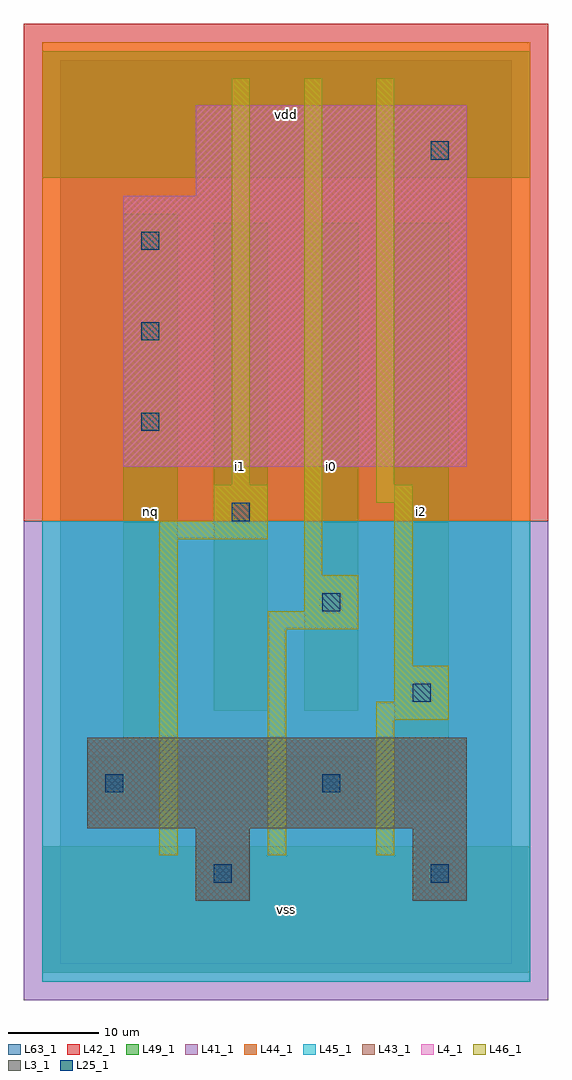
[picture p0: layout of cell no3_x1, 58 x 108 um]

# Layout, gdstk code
import gdstk
lib = gdstk.Library(unit=1e-6, precision=1e-09)
def R(c, l, rs):  # rectangles x0, y0, x1, y1
    for r in rs: c.add(gdstk.rectangle(r[:2], r[2:], *l))
def A(c, l, x, y, w, h, nx, ny, dx, dy):  # array of equal rectangles
    R(c, l, [(x+i*dx, y+j*dy, x+i*dx+w, y+j*dy+h) for i in range(nx) for j in range(ny)])
L3_1 = (3, 1)
L4_1 = (4, 1)
L25_1 = (25, 1)
L41_1 = (41, 1)
L42_1 = (42, 1)
L43_1 = (43, 1)
L44_1 = (44, 1)
L45_1 = (45, 1)
L46_1 = (46, 1)
L49_1 = (49, 1)
L63_1 = (63, 1)

no3_x1 = lib.new_cell('no3_x1')
R(no3_x1, L3_1, [(15,7,21,15), (39,7,45,15), (3,15,45,25)])
R(no3_x1, L4_1, [(7,55,45,85), (15,85,45,95)])
A(no3_x1, L25_1, 9, 59, 2, 2, 1, 3, 0, 10)
R(no3_x1, L25_1, [(17,9,19,11), (41,9,43,11), (5,19,7,21), (29,19,31,21), (39,29,41,31), (29,39,31,41), (19,49,21,51), (41,89,43,91)])
R(no3_x1, L41_1, [(-4,-4,54,49)])
R(no3_x1, L42_1, [(-4,49,54,104)])
R(no3_x1, L43_1, [(15,7,21,15), (39,7,45,15), (3,15,45,25), (7,55,45,85), (15,85,45,95)])
R(no3_x1, L44_1, [(-2,49,52,102)])
R(no3_x1, L45_1, [(-2,-2,52,49)])
R(no3_x1, L46_1, [(11,12,13,47), (23,12,25,37), (35,12,37,27), (35,27,43,29), (37,29,43,33), (37,33,39,51), (23,37,33,39), (27,39,33,43), (27,43,29,98), (11,47,23,49), (17,49,23,53), (35,51,39,53), (19,53,21,98), (35,53,37,98)])
R(no3_x1, L49_1, [(-2,-1,52,13), (3,17,33,23), (37,18,43,82), (7,23,13,83), (17,28,23,82), (27,28,33,82), (-2,87,52,101)])
R(no3_x1, L63_1, [(0,0,50,100)])
no3_x1.add(gdstk.Label('nq', (10,50), layer=49, texttype=1))
no3_x1.add(gdstk.Label('nq', (10,50), layer=49, texttype=1))
no3_x1.add(gdstk.Label('i1', (20,55), layer=49, texttype=1))
no3_x1.add(gdstk.Label('i1', (20,55), layer=49, texttype=1))
no3_x1.add(gdstk.Label('vss', (25,6), layer=49, texttype=1))
no3_x1.add(gdstk.Label('vss', (25,6), layer=49, texttype=1))
no3_x1.add(gdstk.Label('i0', (30,55), layer=49, texttype=1))
no3_x1.add(gdstk.Label('i0', (30,55), layer=49, texttype=1))
no3_x1.add(gdstk.Label('vdd', (25,94), layer=49, texttype=1))
no3_x1.add(gdstk.Label('vdd', (25,94), layer=49, texttype=1))
no3_x1.add(gdstk.Label('i2', (40,50), layer=49, texttype=1))
no3_x1.add(gdstk.Label('i2', (40,50), layer=49, texttype=1))

lib.write_gds('no3_x1.gds')
